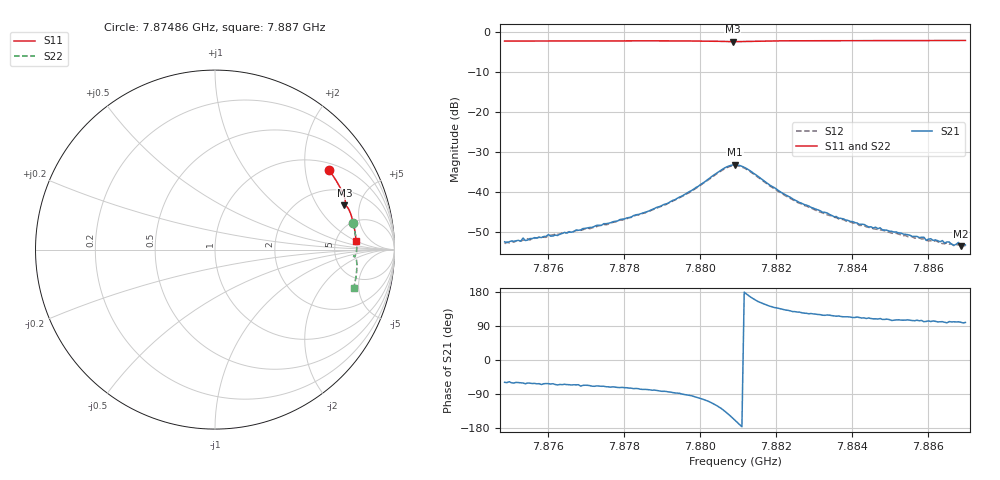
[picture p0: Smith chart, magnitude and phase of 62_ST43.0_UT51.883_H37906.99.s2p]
#  HZ  S  DB  R  50.00
! Rohde & Schwarz Vector Network Analyzer
! Rohde-Schwarz,ZNB20-2Port,1311601062101988,3.16
! Created: UTC 1/12/2023, 6:33:46 PM
! freq[Hz]  db:S11  ang:S11  db:S21  ang:S21  db:S12  ang:S12  db:S22  ang:S22
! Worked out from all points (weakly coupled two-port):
!   201 points, 7.87486 GHz to 7.887 GHz, reference 50 ohm
!   highest |S21| = -33.12 dB at 7.88093 GHz (marker M1); lowest = -53.4 dB at 7.88687 GHz (marker M2)
!   lowest |S11| = -2.4 dB at 7.88087 GHz (marker M3), VSWR 7.40, Z = 151 + j178 ohm
!   |S11| at or under -10 dB: nowhere
!   |S22| runs from -2.2 to -1.9 dB; largest |S21 - S12| = 0.0014
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7.874864e9  -2.23 34.9  -52.36 -59.0  -52.83 -60.4  -2.14 10.9
7.876017e9  -2.21 31.8  -50.56 -62.3  -50.76 -68.2  -2.11 8.1
7.876259e9  -2.20 31.1  -50.79 -65.9  -50.43 -68.4  -2.10 7.5
7.876927e9  -2.19 29.3  -49.05 -67.0  -49.34 -69.9  -2.08 6.0
7.877836e9  -2.18 26.8  -47.17 -72.4  -47.23 -75.7  -2.06 3.9
7.878928e9  -2.18 23.7  -43.60 -81.4  -43.71 -84.3  -2.04 1.3
7.879717e9  -2.19 21.5  -39.88 -93.1  -40.13 -96.4  -2.06 -0.6
7.880566e9  -2.31 19.2  -34.43 -127.7  -34.64 -131.5  -2.17 -2.7
7.880869e9  -2.36 18.9  -33.16 -153.3  -33.40 -156.7  -2.23 -2.9
7.88093e9  -2.36 18.9  -33.12 -159.1  -33.33 -162.6  -2.23 -2.8
7.881172e9  -2.33 18.8  -33.75 178.9  -33.92 175.7  -2.21 -2.7
7.882264e9  -2.16 16.0  -40.63 131.8  -40.91 127.8  -2.02 -5.0
7.882992e9  -2.12 13.9  -43.95 121.6  -44.19 117.7  -1.98 -6.7
7.883659e9  -2.11 12.1  -46.46 116.1  -46.65 112.4  -1.96 -8.3
7.884994e9  -2.10 8.6  -49.72 106.7  -49.98 104.9  -1.93 -11.3
7.885903e9  -2.08 6.2  -51.22 101.0  -51.64 99.9  -1.93 -13.3
7.885964e9  -2.08 6.0  -51.97 101.8  -51.98 99.9  -1.93 -13.4
7.886571e9  -2.08 4.5  -52.42 101.4  -52.91 98.1  -1.92 -14.7
7.886692e9  -2.08 4.2  -53.24 100.9  -53.30 94.8  -1.92 -14.9
7.886813e9  -2.08 3.8  -52.51 100.8  -53.14 95.4  -1.92 -15.2
7.886874e9  -2.07 3.7  -53.45 99.6  -53.11 97.2  -1.92 -15.4
7.886995e9  -2.08 3.4  -53.11 99.1  -53.44 96.6  -1.92 -15.6
